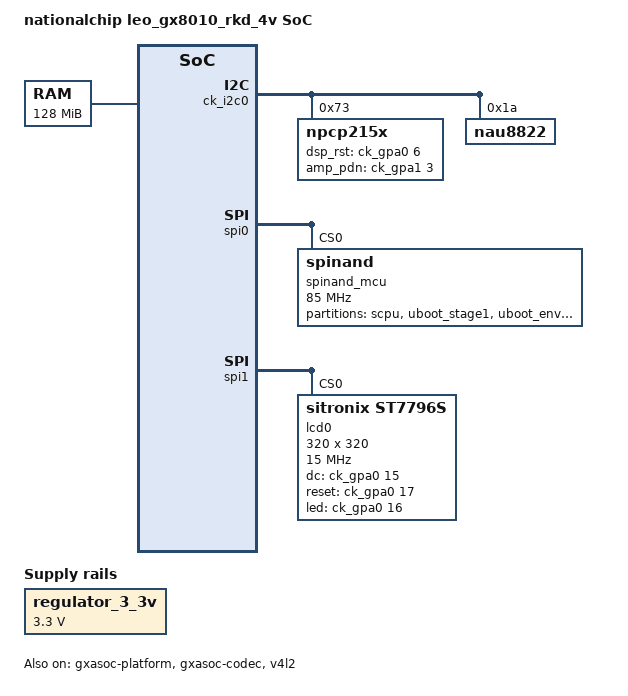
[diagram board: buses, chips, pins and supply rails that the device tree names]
/*
 *  Copyright (C) 2013 Steffen Trumtrar <s.trumtrar@pengutronix.de>
 *
 * This program is free software; you can redistribute it and/or modify
 * it under the terms of the GNU General Public License as published by
 * the Free Software Foundation; either version 2 of the License, or
 * (at your option) any later version.
 *
 * This program is distributed in the hope that it will be useful,
 * but WITHOUT ANY WARRANTY; without even the implied warranty of
 * MERCHANTABILITY or FITNESS FOR A PARTICULAR PURPOSE.  See the
 * GNU General Public License for more details.
 *
 * You should have received a copy of the GNU General Public License
 * along with this program.  If not, see <http://www.gnu.org/licenses/>.
 */

/dts-v1/;
/* First 4KB has trampoline code for secondary cores. */
/* /memreserve/ 0x00000000 0x0001000; */

#include "leo.dtsi"

/ {
	model = "nationalchip leo_gx8010_rkd_4v SoC";
	compatible = "nationalchip,leo_gx8010_rkd_4v_1v", "nationalchip,leo";

	chosen {
		bootargs = "earlyprintk";
		stdout-path = "serial0:115200n8";
	};

	memory {
		name = "memory";
		device_type = "memory";
		reg = <0x10000000 0x8000000>;
	};

	aliases {
		/* this allow the ethaddr uboot environmnet variable contents
		 * to be added to the gmac1 device tree blob.
		 */
	};

	regulator_3_3v: vcc3p3-regulator {
		compatible = "regulator-fixed";
		regulator-name = "VCC3P3";
		regulator-min-microvolt = <3300000>;
		regulator-max-microvolt = <3300000>;
	};

	a7_key:a7_key@0x2305008{
		compatible = "nationalchip,LEO-keypad";
		reg = <0x230501c 0x90>;
		autorepeat;
	};

	csky_key:csky_key@0x305004{
		compatible = "nationalchip,LEO-keypad";
		reg = <0x30501c 0x90>;
		autorepeat;

        key1:key1{
			key_code  = <KEY_MUTE>;
			key_gpio = <7>;
		};
        key2:key2{
			key_code  = <KEY_VOLUMEUP>;
			key_gpio = <8>;
		};
        key3:key3{
			key_code  = <KEY_VOLUMEDOWN>;
			key_gpio = <21>;
		};
	};
	urat1_control{
		compatible = "nationalchip,LEO_uart_control";
		reg = <0x02308000 0x1000>;
		val = <0x01>;
		cts-gpio = <&gpa0 9 GPIO_ACTIVE_HIGH>;
		rts-gpio = <&gpa0 10 GPIO_ACTIVE_HIGH>;
	};

	gxasoc-machine {
		name = "gxasoc-machine";
		compatible = "NationalChip,ASoc-Machine";
		num_codecs = <1>;
		codec-name     = "gxasoc-lodac";
		codec-dai-name = "gxasoc-lodac-dai";
		platform-name  = "gxasoc-platform";
		cup-dai-name   = "gxasoc-platform-dai";
		status = "okay";
	};

	gxasoc-platform {
		dev-name   = "gxasoc-platform";
		compatible = "NationalChip,ASoc-Platform";
		reg = <0x01200000 0xf4>;
		reg-names = "gxasoc.aout.regs";
		status = "okay";
	};

	gxasoc-codec {
		dev-name   = "gxasoc-lodac";
		compatible = "NationalChip,ASoc-Lodac";
		reg = <0x0030a1a0 0xc>;
		reg-names = "gxasoc.lodac.regs";
		status = "okay";
	};

	gxasoc-platform_dai {
		dev-name   = "gxasoc-platform-dai";
		compatible = "NationalChip,ASoc-Platform_Dai";
		status = "okay";
	};

	v4l2 {
		compatible = "NationalChip,BT1120-Video";
		i2c_bus = <0>;
		reset-gpio = <&gpa0 5 GPIO_ACTIVE_HIGH>;
		powerdown-gpio = <&gpa0 12 GPIO_ACTIVE_HIGH>;
		clocks = <&clk_bt1120>,
			<&bt1120_div>,
			<&bt1120_ddr>;
		clock-names = "xvclk",
			"gx.bt1120_div.clk",
			"gx.bt1120_ddr.clk";

		reg = <0x04d00000 0x1bc>,
			<0x0230a000 0x1c>;
		reg-names = "gx.bt1120.regs",
			"gx.bt1120.reset_regs";
		interrupts = <47>;
		interrupt-names = "gx.bt1120.irqs";
		status = "okay";
	};
};

&ck_i2c0{
	status = "okay";
};

&spi0{
	status = "okay";

	/* spi nor flash */
	/*M25P@0 {
		compatible = "jedec,spi-nor";
		spi-max-frequency = <85000000>;
		reg = <1>;
		status = "okay";

		partitions {
			#address-cells = <1>;
			#size-cells = <1>;
			compatible = "fixed-partitions";
			scpu {		reg = <0x000000 0x100000>; };
			uboot_stage1 {	reg = <0x100000 0x40000>;  };
			uboot_env {	reg = <0x140000 0x40000>;  };
			uboot_stage2 {	reg = <0x180000 0x80000>;  };
			boot_music {	reg = <0x200000 0x80000>;  };
			kernel_dtb {	reg = <0x280000 0x80000>;  };
			kernel {	reg = <0x300000 0x500000>; };
		};
	};*/

	/* spi nand flash */
	spinand_mcu@0 {
		compatible = "spinand";
		spi-max-frequency = <85000000>;
		reg = <0>;
		status = "okay";

		partitions {
			#address-cells = <1>;
			#size-cells = <1>;
			compatible = "fixed-partitions";
			scpu {		reg = <0x000000 0x100000>; };
			uboot_stage1 {	reg = <0x100000 0x40000>;  };
			uboot_env {	reg = <0x140000 0x40000>;  };
			uboot_stage2 {	reg = <0x180000 0x80000>;  };
			boot_music {	reg = <0x200000 0x80000>;  };
			kernel_dtb {	reg = <0x280000 0x80000>;  };
			kernel {	reg = <0x300000 0x700000>; };
			rootfs {	reg = <0xa00000 0x7600000>;};
		};
	};
};

&mmc0{
	status = "disabled";
};

&spi1{
       lcd0: st7796s@0{
               compatible = "sitronix,st7796s";
               reg = <0>;
               status = "okay";
               spi-max-frequency = <15000000>;
               regwidth = <8>;
               width = <320>;
               height = <320>;
               buswidth = <8>;
               bpp = <16>;
               bgr = <1>; 
               /*init; */
               dc-gpios = <&ck_gpa0 15 GPIO_ACTIVE_HIGH>;
               reset-gpios = <&ck_gpa0 17 GPIO_ACTIVE_HIGH>;
               led-gpios = <&ck_gpa0 16 GPIO_ACTIVE_HIGH>;
               debug = <0x1>;
       };
};
      
&ck_i2c0{
	npcp215x@73 {
		compatible = "npcp215x";
		dev-name = "npcp215x";
		reg = <0x73>;
		dsp_rst-gpio = <&ck_gpa0 6 GPIO_ACTIVE_HIGH>;
		amp_pdn-gpio = <&ck_gpa1 3 GPIO_ACTIVE_HIGH>;
	};

	nau8822@1a {
		compatible = "nau8822";
		dev-name = "nau8822";
		reg = <0x1a>;
	};
};
